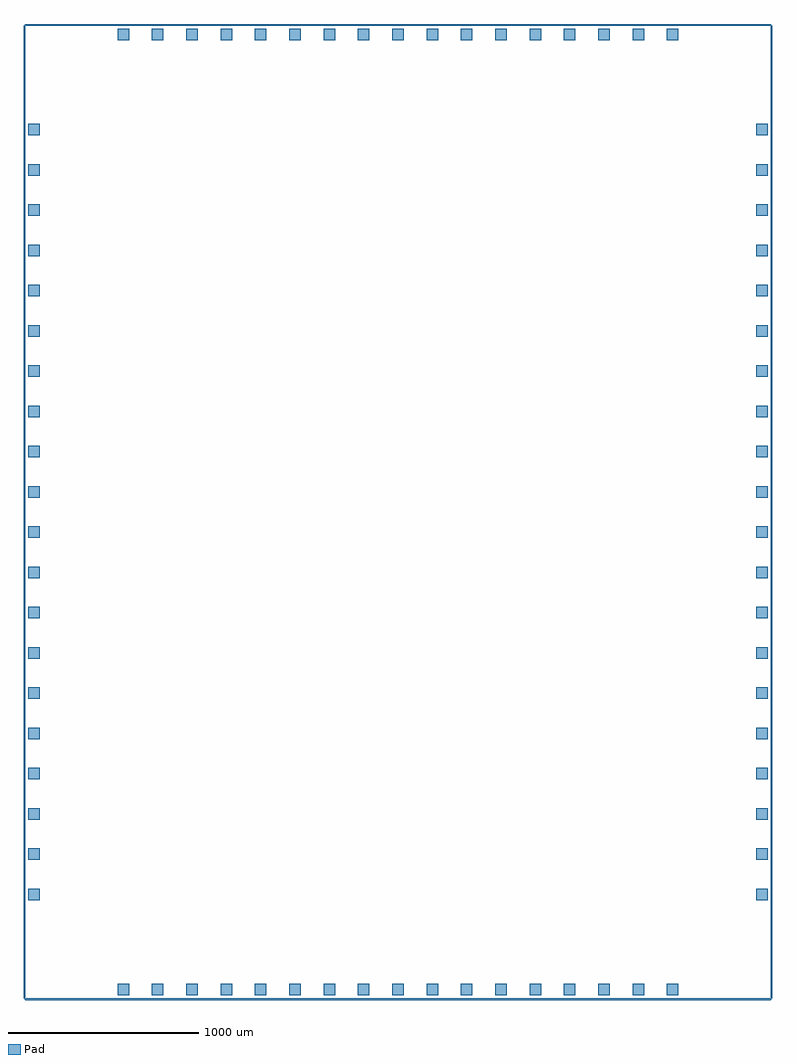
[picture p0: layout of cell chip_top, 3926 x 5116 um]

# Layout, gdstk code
import gdstk
lib = gdstk.Library(unit=1e-6, precision=1e-09)
def R(c, l, rs):  # rectangles x0, y0, x1, y1
    for r in rs: c.add(gdstk.rectangle(r[:2], r[2:], *l))
def A(c, l, x, y, w, h, nx, ny, dx, dy):  # array of equal rectangles
    R(c, l, [(x+i*dx, y+j*dy, x+i*dx+w, y+j*dy+h) for i in range(nx) for j in range(ny)])
def P(c, l, *ps):  # polygons
    for p in ps: c.add(gdstk.Polygon(p, *l))
Pad = (37, 0)

chip_top = lib.new_cell('chip_top')
A(chip_top, Pad, 496, 28, 60, 60, 17, 2, 180, 5006)
A(chip_top, Pad, 28, 526.5, 60, 60, 1, 20, 0, 211)
A(chip_top, Pad, 3844, 526.5, 60, 60, 1, 20, 0, 211)
P(chip_top, Pad, [(12,3),(3,12),(3,5110),(16,5110),(12,5106),(12,16),(16,12),(3916,12),(3920,16),(3920,5106),(3916,5110),(3,5110),(12,5119),(3920,5119),(3929,5110),(3929,12),(3920,3)])

lib.write_gds('chip_top.gds')
